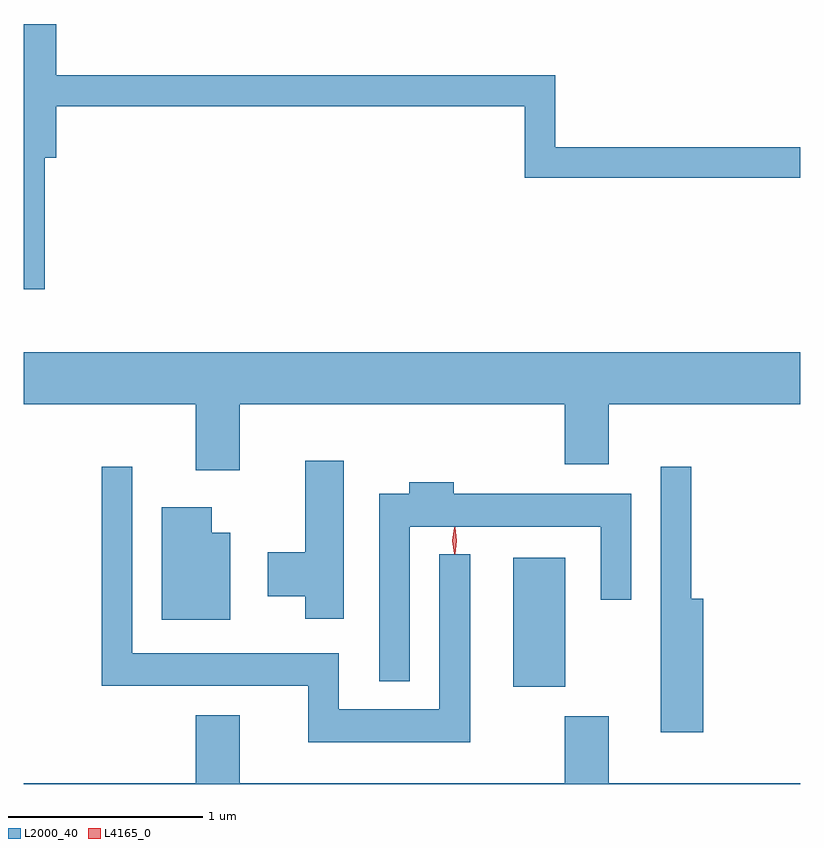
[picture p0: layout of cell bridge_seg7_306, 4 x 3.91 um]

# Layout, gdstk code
import gdstk
lib = gdstk.Library(unit=1e-6, precision=1e-09)
def R(c, l, rs):  # rectangles x0, y0, x1, y1
    for r in rs: c.add(gdstk.rectangle(r[:2], r[2:], *l))
def P(c, l, *ps):  # polygons
    for p in ps: c.add(gdstk.Polygon(p, *l))
L2000_40 = (2000, 40)
L4165_0 = (4165, 0)

bridge_seg7_306 = lib.new_cell('bridge_seg7_306')
R(bridge_seg7_306, L2000_40, [(1158.016,1763.921,1158.284,1764.584)])
P(bridge_seg7_306, L2000_40, [(1155.604,1766.646),(1155.664,1766.646),(1155.664,1766.911),(1158.076,1766.911),(1158.076,1766.541),(1159.495,1766.541),(1159.495,1766.699),(1158.234,1766.699),(1158.234,1767.069),(1155.664,1767.069),(1155.664,1767.334),(1155.495,1767.334),(1155.495,1765.968),(1155.604,1765.968)],
  [(1156.609,1765.376),(1158.281,1765.376),(1158.281,1765.066),(1158.509,1765.066),(1158.509,1765.376),(1159.495,1765.376),(1159.495,1765.644),(1155.495,1765.644),(1155.495,1765.376),(1156.381,1765.376),(1156.381,1765.036),(1156.609,1765.036)],
  [(1157.144,1765.084),(1156.946,1765.084),(1156.946,1764.614),(1156.751,1764.614),(1156.751,1764.386),(1156.946,1764.386),(1156.946,1764.271),(1157.144,1764.271)],
  [(1157.794,1764.603),(1157.636,1764.603),(1157.636,1763.804),(1157.119,1763.804),(1157.119,1764.094),(1156.054,1764.094),(1156.054,1765.053),(1155.896,1765.053),(1155.896,1763.926),(1156.961,1763.926),(1156.961,1763.636),(1157.794,1763.636)],
  [(1158.994,1764.374),(1158.934,1764.374),(1158.934,1765.053),(1158.776,1765.053),(1158.776,1763.686),(1158.994,1763.686)],
  [(1157.484,1764.746),(1158.466,1764.746),(1158.466,1764.368),(1158.624,1764.368),(1158.624,1764.914),(1157.709,1764.914),(1157.709,1764.974),(1157.481,1764.974),(1157.481,1764.914),(1157.326,1764.914),(1157.326,1763.948),(1157.484,1763.948)],
  [(1156.559,1764.714),(1156.464,1764.714),(1156.464,1764.844),(1156.206,1764.844),(1156.206,1764.266),(1156.559,1764.266)],
  [(1159.495,1763.424),(1158.509,1763.424),(1158.509,1763.769),(1158.281,1763.769),(1158.281,1763.424),(1156.609,1763.424),(1156.609,1763.774),(1156.381,1763.774),(1156.381,1763.424),(1155.495,1763.424),(1155.495,1763.42),(1159.495,1763.42)])
P(bridge_seg7_306, L4165_0, [(1157.713,1764.607),(1157.703,1764.674),(1157.712,1764.74),(1157.713,1764.74),(1157.714,1764.74),(1157.723,1764.674),(1157.714,1764.607),(1157.714,1764.607)],
  [(1157.716,1764.604),(1157.716,1764.604),(1157.706,1764.674),(1157.716,1764.743),(1157.716,1764.743),(1157.717,1764.743),(1157.726,1764.674),(1157.717,1764.604)])

lib.write_gds('bridge_seg7_306.gds')
